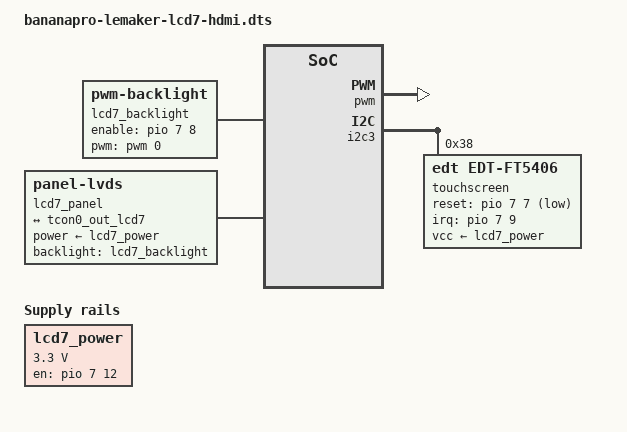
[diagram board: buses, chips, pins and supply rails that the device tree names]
// SPDX-License-Identifier: GPL-2.0
/*
 * Nakladka Device Tree: LeMaker 7" LVDS 1024x600 + dotyk FT5x06
 * WARIANT "LCD + HDMI": uzyj tej nakladki zamiast bananapro-lemaker-lcd7,
 * jesli do plytki jest tez podlaczony monitor HDMI.
 * Plyta: LeMaker Banana Pro (Allwinner A20), jadro mainline (Armbian current/edge)
 *
 * Zrodlo parametrow: fex/banana_pro_7lcd.fex z LeMaker/fex_configuration
 *
 * Instalacja na Armbian:
 *   sudo armbian-add-overlay bananapro-lemaker-lcd7-hdmi.dts
 *   reboot
 *
 * Status: sprawdzony na sprzecie razem z HDMI 1920x1080 (2026-11-03), obraz
 * nie miga. Poza zegarem identyczny z bananapro-lemaker-lcd7.
 */

/dts-v1/;
/plugin/;

/*
 * CO: liczby zamiast nazw z #include (GPIO_ACTIVE_HIGH itp.).
 * DLACZEGO: armbian-add-overlay kompiluje plik samym dtc, bez preprocesora,
 * wiec #include i makra by sie nie rozwinely.
 *
 * Sciaga:  bank H = 7,  GPIO_ACTIVE_HIGH = 0,  IRQ_TYPE_EDGE_FALLING = 2
 *          PWM: <&pwm kanal okres_ns polaryzacja>, 0 = normalna
 */

&{/} {
	/*
	 * CO: zasilanie matrycy, w fex: lcd_power = PH12.
	 * DLACZEGO: sterownik panelu wlacza zasilanie przez regulator,
	 * nie przez goly pin GPIO, wiec owijamy PH12 w "regulator-fixed".
	 */
	lcd7_power: lcd7-power {
		compatible = "regulator-fixed";
		regulator-name = "lcd7-power";
		regulator-min-microvolt = <3300000>;
		regulator-max-microvolt = <3300000>;
		gpio = <&pio 7 12 0>;		/* PH12 */
		enable-active-high;
	};

	/*
	 * CO: podswietlenie, PWM0 na PB2 + pin wlaczajacy PH8 (lcd_bl_en w fex).
	 * DLACZEGO okres 50000 ns (20 kHz): fex mial 22 kHz, roznica jest
	 * niezauwazalna, a 20 kHz to typowa i pewna wartosc dla sun4i-pwm.
	 * Jesli podswietlenie dziala "odwrotnie" (0 = najjasniej),
	 * zmien ostatnia liczbe w pwms z 0 na 1.
	 */
	lcd7_backlight: lcd7-backlight {
		compatible = "pwm-backlight";
		pwms = <&pwm 0 50000 0>;
		brightness-levels = <0 255>;
		num-interpolated-steps = <255>;
		default-brightness-level = <200>;
		enable-gpios = <&pio 7 8 0>;	/* PH8 */
	};

	/*
	 * CO: opis matrycy LVDS z timingami przeliczonymi z fex.
	 * DLACZEGO "panel-lvds": sterownik TCON w A20 wlacza tryb LVDS
	 * tylko wtedy, gdy podlaczony panel ma wlasnie ten compatible.
	 * Z kazdym innym probuje wyjscia rownoleglego RGB.
	 */
	lcd7_panel: lcd7-panel {
		compatible = "panel-lvds";
		width-mm = <154>;
		height-mm = <86>;
		/* fex: lcd_lvds_mode = 0 (tryb NS = VESA), lcd_lvds_bitwidth = 0 (24 bit) */
		data-mapping = "vesa-24";
		power-supply = <&lcd7_power>;
		backlight = <&lcd7_backlight>;

		/*
		 * CO: timingi obrazu.
		 * DLACZEGO takie liczby: w fex "hbp" i "vbp" zawieraja juz szerokosc
		 * impulsu sync, a "vt" jest podwojone (stara konwencja Allwinnera).
		 *   hback = hbp - hspw = 150 - 50 = 100
		 *   hfront = ht - x - hbp = 1344 - 1024 - 150 = 170
		 *   vt = 1270 / 2 = 635
		 *   vback = vbp - vspw = 20 - 10 = 10
		 *   vfront = 635 - 600 - 20 = 15
		 * Z zegarem 55 MHz z fex daje to ~64 Hz.
		 *
		 * DLACZEGO w tym wariancie 42.429 MHz zamiast 55 MHz:
		 * LCD i HDMI dziela w jadrze ten sam zegar PLL3 (pll-video0). HDMI w trybach
		 * 720p/1080p ustawia go na 297 MHz, a wyjscie LVDS zawsze dzieli go przez 7.
		 * Przy 55 MHz po podlaczeniu HDMI ekran dostawal 594/7 = ~85 MHz i migal.
		 * 42.429 MHz x 7 jadro zaokragla w dol do tych samych 297 MHz, wiec LCD
		 * i HDMI chca tej samej wartosci i nie przestawiaja sobie zegara.
		 * Odswiezanie spada do ~50 Hz. Typowe matryce 7" 1024x600 przyjmuja zegar
		 * od ok. 40.8 MHz, a ekran LCD przy 50 Hz nie migocze.
		 */
		panel-timing {
			clock-frequency = <42429000>;	/* x7 = ~297 MHz, wspolne z HDMI */
			hactive = <1024>;
			vactive = <600>;
			hfront-porch = <170>;
			hback-porch = <100>;
			hsync-len = <50>;
			vfront-porch = <15>;
			vback-porch = <10>;
			vsync-len = <10>;
		};

		port {
			lcd7_panel_in: endpoint {
				remote-endpoint = <&tcon0_out_lcd7>;
			};
		};
	};
};

/*
 * CO: piny PD0-PD9 w trybie LVDS0 dla kontrolera TCON0.
 * DLACZEGO: grupa "lcd_lvds0_pins" juz istnieje w sun7i-a20.dtsi,
 * wystarczy ja przypisac (w fex to byly piny PD00-PD09 z funkcja <3>).
 */
&tcon0 {
	pinctrl-names = "default";
	pinctrl-0 = <&lcd_lvds0_pins>;
};

/*
 * CO: polaczenie TCON0 -> panel.
 * DLACZEGO endpoint@0: sterownik szuka panelu dokladnie na porcie 1,
 * endpoincie 0. Endpoint@1 jest zajety przez HDMI w pliku bazowym.
 */
&tcon0_out {
	#address-cells = <1>;
	#size-cells = <0>;

	tcon0_out_lcd7: endpoint@0 {
		reg = <0>;
		remote-endpoint = <&lcd7_panel_in>;
	};
};

/* CO: wlaczenie kontrolera PWM i przypisanie pinu PB2 do kanalu 0. */
&pwm {
	pinctrl-names = "default";
	pinctrl-0 = <&pwm0_pin>;
	status = "okay";
};

/*
 * CO: dotyk pojemnosciowy FocalTech na I2C3 (piny PI0/PI1 na zlaczu LCD).
 * Z fex: ctp_twi_id = 3, adres 0x38, przerwanie PH9, wybudzanie PH7.
 * DLACZEGO "edt,edt-ft5406": mainline obsluguje uklady FT5x06 sterownikiem
 * edt-ft5x06, ktory zastapil stary sterownik "ft5x_ts" z jadra 3.4.
 * UWAGA: w Armbian ten sterownik nie jest domyslnie wkompilowany
 * (CONFIG_TOUCHSCREEN_EDT_FT5X06), trzeba go dobudowac jako modul.
 */
&i2c3 {
	pinctrl-names = "default";
	pinctrl-0 = <&i2c3_pins>;
	status = "okay";
	#address-cells = <1>;
	#size-cells = <0>;

	touchscreen@38 {
		compatible = "edt,edt-ft5406";
		reg = <0x38>;
		/*
		 * Uklad dotyku jest zasilany z linii panelu (PH12). Bez tego
		 * sterownik panelu wylacza ja przy wygaszaniu ekranu (DPMS) i dotyk
		 * nie moze obudzic ekranu. Z vcc-supply dotyk trzyma zasilanie.
		 */
		vcc-supply = <&lcd7_power>;
		interrupt-parent = <&pio>;
		interrupts = <7 9 2>;		/* PH9, zbocze opadajace */
		/*
		 * CO: PH7 to linia RESET ukladu dotyku (w fex: ctp_wakeup), aktywna nisko.
		 * DLACZEGO reset-gpios, a nie wake-gpios: przy wake-gpios sterownik
		 * czeka po wlaczeniu tylko 5 ms i uklad jeszcze nie odpowiada na I2C
		 * (blad "touchscreen probe failed", sprawdzone na 7"). Przy reset-gpios
		 * czeka 300 ms, tyle ile uklad FocalTech potrzebuje na start.
		 * Ostatnia liczba 1 = GPIO_ACTIVE_LOW.
		 */
		reset-gpios = <&pio 7 7 1>;	/* PH7 */
		touchscreen-size-x = <1024>;
		touchscreen-size-y = <600>;
	};
};
